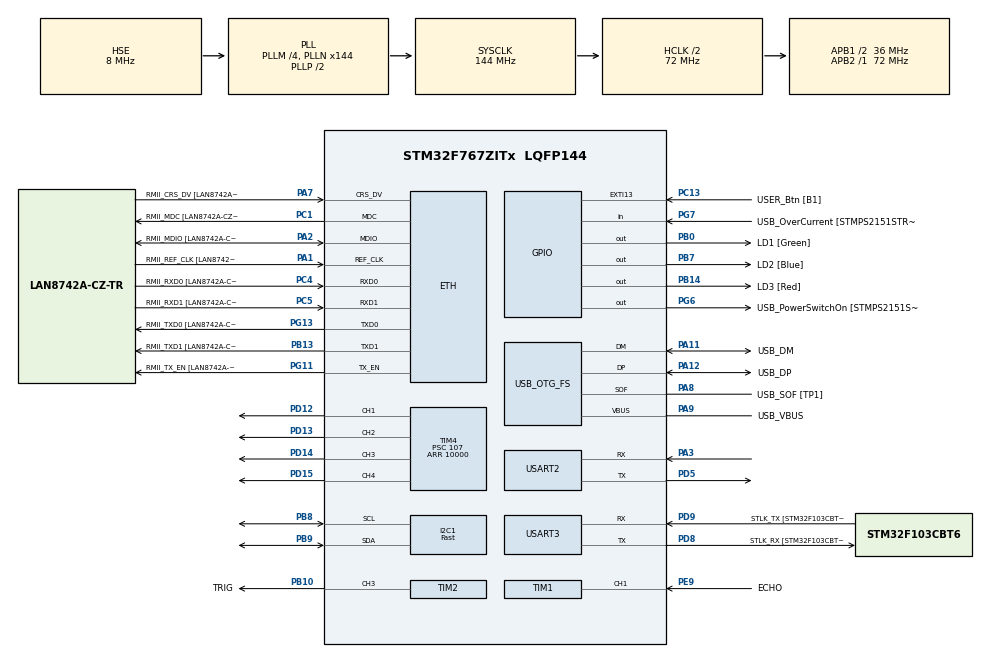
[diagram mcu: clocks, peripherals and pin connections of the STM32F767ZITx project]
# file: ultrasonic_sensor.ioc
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ETH.MediaInterface=HAL_ETH_RMII_MODE
ETH.PHY_Name=LAN8742A_PHY_ADDRESS
ETH.PHY_Value=0
ETH.PhyAddress=0
I2C1.I2C_Speed_Mode=I2C_Fast
I2C1.Timing=0x00301739
Mcu.Family=STM32F7
Mcu.Name=STM32F767ZITx
Mcu.Package=LQFP144
NVIC.PriorityGroup=NVIC_PRIORITYGROUP_4
NVIC.TIM1_CC_IRQn=true\:0\:0\:false\:false\:true\:true\:true\:true
NVIC.TIM2_IRQn=true\:0\:0\:false\:false\:true\:true\:true\:true
NVIC.USART2_IRQn=true\:0\:0\:false\:false\:true\:true\:true\:true
NVIC.USART3_IRQn=true\:0\:0\:false\:false\:true\:true\:true\:true
PA1.GPIO_Label=RMII_REF_CLK [LAN8742A-CZ-TR_REFCLK0]
PA1.Mode=RMII
PA1.Signal=ETH_REF_CLK
PA10.GPIO_Label=USB_ID
PA10.Signal=USB_OTG_FS_ID
PA11.GPIO_Label=USB_DM
PA11.Mode=Device_Only
PA11.Signal=USB_OTG_FS_DM
PA12.GPIO_Label=USB_DP
PA12.Mode=Device_Only
PA12.Signal=USB_OTG_FS_DP
PA13.GPIO_Label=TMS
PA13.Mode=Serial_Wire
PA13.Signal=SYS_JTMS-SWDIO
PA14.GPIO_Label=TCK
PA14.Mode=Serial_Wire
PA14.Signal=SYS_JTCK-SWCLK
PA2.GPIO_Label=RMII_MDIO [LAN8742A-CZ-TR_MDIO]
PA2.Mode=RMII
PA2.Signal=ETH_MDIO
PA3.Mode=Asynchronous
PA3.Signal=USART2_RX
PA7.GPIO_Label=RMII_CRS_DV [LAN8742A-CZ-TR_CRS_DV]
PA7.Mode=RMII
PA7.Signal=ETH_CRS_DV
PA8.GPIO_Label=USB_SOF [TP1]
PA8.Mode=Activate_SOF_FS
PA8.Signal=USB_OTG_FS_SOF
PA9.GPIO_Label=USB_VBUS
PA9.Mode=Activate_VBUS
PA9.Signal=USB_OTG_FS_VBUS
PB0.GPIO_Label=LD1 [Green]
PB0.Signal=GPIO_Output
PB10.GPIO_Label=TRIG
PB10.Signal=S_TIM2_CH3
PB13.GPIO_Label=RMII_TXD1 [LAN8742A-CZ-TR_TXD1]
PB13.Mode=RMII
PB13.Signal=ETH_TXD1
PB14.GPIO_Label=LD3 [Red]
PB14.Signal=GPIO_Output
PB3.GPIO_Label=SWO
PB3.Signal=SYS_JTDO-SWO
PB7.GPIO_Label=LD2 [Blue]
PB7.Signal=GPIO_Output
PB8.Mode=I2C
PB8.Signal=I2C1_SCL
PB9.Mode=I2C
PB9.Signal=I2C1_SDA
PC1.GPIO_Label=RMII_MDC [LAN8742A-CZ-TR_MDC]
PC1.Mode=RMII
PC1.Signal=ETH_MDC
PC13.GPIO_Label=USER_Btn [B1]
PC13.Signal=GPXTI13
PC14/OSC32_IN.Mode=LSE-External-Oscillator
PC14/OSC32_IN.Signal=RCC_OSC32_IN
PC15/OSC32_OUT.Mode=LSE-External-Oscillator
PC15/OSC32_OUT.Signal=RCC_OSC32_OUT
PC4.GPIO_Label=RMII_RXD0 [LAN8742A-CZ-TR_RXD0]
PC4.Mode=RMII
PC4.Signal=ETH_RXD0
PC5.GPIO_Label=RMII_RXD1 [LAN8742A-CZ-TR_RXD1]
PC5.Mode=RMII
PC5.Signal=ETH_RXD1
PD12.Signal=S_TIM4_CH1
PD13.Signal=S_TIM4_CH2
PD14.Signal=S_TIM4_CH3
PD15.Signal=S_TIM4_CH4
PD5.Mode=Asynchronous
PD5.Signal=USART2_TX
PD8.GPIO_Label=STLK_RX [STM32F103CBT6_PA3]
PD8.Mode=Asynchronous
PD8.Signal=USART3_TX
PD9.GPIO_Label=STLK_TX [STM32F103CBT6_PA2]
PD9.Mode=Asynchronous
PD9.Signal=USART3_RX
PE9.GPIO_Label=ECHO
PE9.Signal=S_TIM1_CH1
PG11.GPIO_Label=RMII_TX_EN [LAN8742A-CZ-TR_TXEN]
PG11.Mode=RMII
PG11.Signal=ETH_TX_EN
PG13.GPIO_Label=RMII_TXD0 [LAN8742A-CZ-TR_TXD0]
PG13.Mode=RMII
PG13.Signal=ETH_TXD0
PG6.GPIO_Label=USB_PowerSwitchOn [STMPS2151STR_EN]
PG6.Signal=GPIO_Output
PG7.GPIO_Label=USB_OverCurrent [STMPS2151STR_FAULT]
PG7.Signal=GPIO_Input
PH0/OSC_IN.GPIO_Label=MCO [STM32F103CBT6_PA8]
PH0/OSC_IN.Mode=HSE-External-Clock-Source
PH0/OSC_IN.Signal=RCC_OSC_IN
PH1/OSC_OUT.Mode=HSE-External-Clock-Source
PH1/OSC_OUT.Signal=RCC_OSC_OUT
ProjectManager.HeapSize=0x200
ProjectManager.StackSize=0x400
ProjectManager.TargetToolchain=STM32CubeIDE
RCC.48MHZClocksFreq_Value=24000000
RCC.AHBCLKDivider=RCC_SYSCLK_DIV2
RCC.AHBFreq_Value=72000000
RCC.APB1CLKDivider=RCC_HCLK_DIV2
RCC.APB1Freq_Value=36000000
RCC.APB1TimFreq_Value=72000000
RCC.APB2Freq_Value=72000000
RCC.APB2TimFreq_Value=72000000
RCC.CortexFreq_Value=72000000
RCC.HCLKFreq_Value=72000000
RCC.HSE_VALUE=8000000
RCC.HSI_VALUE=16000000
RCC.PLLM=4
RCC.PLLMUL=RCC_PLL_MUL9
RCC.PLLN=144
RCC.PLLQ=6
RCC.PRESCALERUSB=RCC_USBCLKSOURCE_PLL_DIV1_5
RCC.SYSCLKFreq_VALUE=144000000
RCC.SYSCLKSource=RCC_SYSCLKSOURCE_PLLCLK
RCC.SYSCLKSourceVirtual=RCC_SYSCLKSOURCE_PLLCLK
RCC.USBFreq_Value=48000000
RCC.VCOOutputFreq_Value=288000000
SH.S_TIM1_CH1.0=TIM1_CH1,PWM_Input_1
SH.S_TIM2_CH3.0=TIM2_CH3,PWM Generation3 CH3
SH.S_TIM4_CH1.0=TIM4_CH1,PWM Generation1 CH1
SH.S_TIM4_CH2.0=TIM4_CH2,PWM Generation2 CH2
SH.S_TIM4_CH3.0=TIM4_CH3,PWM Generation3 CH3
SH.S_TIM4_CH4.0=TIM4_CH4,PWM Generation4 CH4
TIM1.Prescaler=71
TIM2.Channel-PWM\ Generation3\ CH3=TIM_CHANNEL_3
TIM2.Period=62500-1
TIM2.Prescaler=71
TIM2.Pulse-PWM\ Generation3\ CH3=10
TIM4.Channel-PWM\ Generation1\ CH1=TIM_CHANNEL_1
TIM4.Channel-PWM\ Generation2\ CH2=TIM_CHANNEL_2
TIM4.Channel-PWM\ Generation3\ CH3=TIM_CHANNEL_3
TIM4.Channel-PWM\ Generation4\ CH4=TIM_CHANNEL_4
TIM4.Period=10000
TIM4.Prescaler=107
USART2.VirtualMode-Asynchronous=VM_ASYNC
USART3.VirtualMode-Asynchronous=VM_ASYNC
USB_OTG_FS.VirtualMode=Device_Only
VP_TIM1_VS_ClockSourceINT.Mode=Internal
VP_TIM2_VS_ClockSourceINT.Mode=Internal
board=NUCLEO-F767ZI

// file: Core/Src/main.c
/* USER CODE BEGIN Header */
/**
  ******************************************************************************
  * @file           : main.c
  * @brief          : Main program body
  ******************************************************************************
  * @attention
  *
  * Copyright (c) 2026 STMicroelectronics.
  * All rights reserved.
  *
  * This software is licensed under terms that can be found in the LICENSE file
  * in the root directory of this software component.
  * If no LICENSE file comes with this software, it is provided AS-IS.
  *
  ******************************************************************************
  */
/* USER CODE END Header */
#include "main.h"
#include "eth.h"
#include "i2c.h"
#include "tim.h"
#include "usart.h"
#include "usb_otg.h"
#include "gpio.h"
#include <stdio.h>
#include <string.h>

/* USER CODE BEGIN Includes */
#include "hc_sr_04.h"
#include "i2c_lcd.h"
/* USER CODE END Includes */

/* USER CODE BEGIN PTD */
struct us_sensor_str distance_sensor;
/* USER CODE END PTD */

/* USER CODE BEGIN PD */

void distance_display(uint32_t *giv_dist, uint32_t *acc_dist){
	lcd_clear();
	lcd_put_cursor(0,0);
	lcd_send_string("G.D.:");
	char *lcdout = (char*)giv_dist;
	lcd_put_cursor(0,6);
	lcd_send_string(lcdout);
	lcd_put_cursor(0,10);
	lcd_send_string("cm");

	lcd_put_cursor(1,0);
	lcd_send_string("A.D.:");

	lcd_put_cursor(1,10);
	lcd_send_string("cm");

	char buffer[12];
	itoa(*acc_dist, buffer, 10);
	lcd_put_cursor(1,6);
	lcd_send_string("   ");
	lcd_put_cursor(1,6);
	lcd_send_string(buffer);
	HAL_Delay(150);
}
/* USER CODE END PD */

/* USER CODE BEGIN PV */

uint8_t rx_indx;
uint8_t rx_data[3];
float giv_dist;
uint8_t rx_buffer[100];
uint8_t transfer_cplt;
float distances;

#define PWM_MAX 7500
#define MIN_PWM 2400
#define TOLERANCE_CM 3.0f
typedef struct {
	float Kp;
	float Kd;
	float target_distance;
	float prev_error;
	uint32_t last_time;
} PD_Controller;

PD_Controller robotPD = {0};
int32_t current_pwm_output = 0;

/* USER CODE END PV */

void SystemClock_Config(void);

/* USER CODE BEGIN 0 */

float uint8_to_float_ascii(uint8_t bytes[3]) {
    // Assuming bytes contain ASCII digits: '3', '0', '0'
	if(bytes[0] != '.' && bytes[1] != '.' && bytes[2] != '.'){
		int value = (bytes[0] - '0') * 100 +
                	(bytes[1] - '0') * 10 +
					(bytes[2] - '0');
		return (float)value;
	}
	else if(bytes[2] == '.'){
		int value = (bytes[0] - '0') * 10 + (bytes[1] - '0') ;
		return (float)value;
	}
	else if(bytes[1] == '.'){
		int value = (bytes[0] - '0');
		return (float)value;
	}
}

void SetRobotSpeed(int32_t speed)
{
	if (speed > PWM_MAX) speed = PWM_MAX;
	if (speed < -PWM_MAX) speed = -PWM_MAX;

	if (speed > 0 && speed < MIN_PWM) speed = MIN_PWM;
	if (speed < 0 && speed > -MIN_PWM) speed = -MIN_PWM;

	if (speed == 0) {
	        __HAL_TIM_SET_COMPARE(&htim4, TIM_CHANNEL_1, 0);
	        __HAL_TIM_SET_COMPARE(&htim4, TIM_CHANNEL_2, 0);
	        __HAL_TIM_SET_COMPARE(&htim4, TIM_CHANNEL_3, 0);
	        __HAL_TIM_SET_COMPARE(&htim4, TIM_CHANNEL_4, 0);
	        return;
	    }

	if (speed > 0) {
	        // Przód
	        __HAL_TIM_SET_COMPARE(&htim4, TIM_CHANNEL_1, speed); // L Przód
	        __HAL_TIM_SET_COMPARE(&htim4, TIM_CHANNEL_2, 0);
	        __HAL_TIM_SET_COMPARE(&htim4, TIM_CHANNEL_3, speed); // R Przód
	        __HAL_TIM_SET_COMPARE(&htim4, TIM_CHANNEL_4, 0);
	    } else {
	        // Tył
	        __HAL_TIM_SET_COMPARE(&htim4, TIM_CHANNEL_1, 0);
	        __HAL_TIM_SET_COMPARE(&htim4, TIM_CHANNEL_2, -speed);// L Tył
	        __HAL_TIM_SET_COMPARE(&htim4, TIM_CHANNEL_3, 0);
	        __HAL_TIM_SET_COMPARE(&htim4, TIM_CHANNEL_4, -speed);// R Tył
	    }
}

// Obliczanie wartości PWM na podstawie odległości
float Calculate_PD(PD_Controller *pd, uint32_t *current_distance)
{
    uint32_t now = HAL_GetTick();
    float dt = (now - pd->last_time) / 1000.0f; // Czas w sekundach
    if (dt <= 0.0f) dt = 0.001f;

    // Błąd = aktualna odległość - pożądana odległość
    float current_distance_f = *current_distance;
    float error = current_distance_f  - pd->target_distance;

    if (error > -TOLERANCE_CM && error < TOLERANCE_CM){
    	pd->prev_error = error;
		pd->last_time = now;

		return 0.0f;
    }

    // Pochodna = jak szybko zmienia się błąd
    float derivative = (error - pd->prev_error) / dt;

    // Wynik PD
    float output = (pd->Kp * error) + (pd->Kd * derivative);

    pd->prev_error = error;
    pd->last_time = now;

    return output;
}

/* USER CODE END 0 */

int main(void)
{

  /* MCU Configuration--------------------------------------------------------*/

  /* Reset of all peripherals, Initializes the Flash interface and the Systick. */
  HAL_Init();

  /* Configure the system clock */
  SystemClock_Config();

  /* Initialize all configured peripherals */
  MX_GPIO_Init();
  MX_ETH_Init();
  MX_USART3_UART_Init();
  MX_USB_OTG_FS_PCD_Init();
  MX_TIM1_Init();
  MX_TIM2_Init();
  MX_I2C1_Init();
  MX_TIM4_Init();
  MX_USART2_UART_Init();
  /* USER CODE BEGIN 2 */
  hc_sr04_init(&distance_sensor, &htim1, &htim2, TIM_CHANNEL_3);

  lcd_init();

  HAL_TIM_PWM_Start(&htim4, TIM_CHANNEL_1);
  HAL_TIM_PWM_Start(&htim4, TIM_CHANNEL_2);
  HAL_TIM_PWM_Start(&htim4, TIM_CHANNEL_3);
  HAL_TIM_PWM_Start(&htim4, TIM_CHANNEL_4);

  robotPD.Kp = 170.0f;             // Modyfikuj w Live Expressions!
  robotPD.Kd = 20.0f;              // Modyfikuj w Live Expressions!
  robotPD.target_distance = 20.0f;   // TU WKLEIĆ TARGET OD OSKARA CHYBA
  robotPD.last_time = HAL_GetTick();

  /* USER CODE END 2 */

  /* Infinite loop */
  /* USER CODE BEGIN WHILE */
  while (1)
  {
	  static uint32_t last_pd_calc_time = 0;

	  HAL_UART_Receive_IT(&huart2, rx_data, 3);
	  giv_dist = uint8_to_float_ascii(rx_data);

	  robotPD.target_distance = giv_dist;

	  if (HAL_GetTick() - last_pd_calc_time > 50)
	       {
	           last_pd_calc_time = HAL_GetTick();

	           // 1. Oblicz nowe PWM na podstawie zmiennej z czujnika
	           float calculated_pwm = Calculate_PD(&robotPD, &distance_sensor.distance_cm);

	           // 2. Przekaż do silników
	           current_pwm_output = (int32_t)calculated_pwm;
	           SetRobotSpeed(current_pwm_output);
	       }

	  distance_display(rx_data, &distance_sensor.distance_cm);

	  distances = (float)distance_sensor.distance_cm;

	  char wifi_buffer[50];
	  sprintf(wifi_buffer, "%.1f\n", distances);
	  HAL_UART_Transmit(&huart2, (uint8_t*)wifi_buffer, strlen(wifi_buffer), 1000);

    /* USER CODE END WHILE */

  }
}

void SystemClock_Config(void)
{
  RCC_OscInitTypeDef RCC_OscInitStruct = {0};
  RCC_ClkInitTypeDef RCC_ClkInitStruct = {0};

  /** Configure LSE Drive Capability
  */
  HAL_PWR_EnableBkUpAccess();

  /** Configure the main internal regulator output voltage
  */
  __HAL_RCC_PWR_CLK_ENABLE();
  __HAL_PWR_VOLTAGESCALING_CONFIG(PWR_REGULATOR_VOLTAGE_SCALE3);

  /** Initializes the RCC Oscillators according to the specified parameters
  * in the RCC_OscInitTypeDef structure.
  */
  RCC_OscInitStruct.OscillatorType = RCC_OSCILLATORTYPE_HSE;
  RCC_OscInitStruct.HSEState = RCC_HSE_BYPASS;
  RCC_OscInitStruct.PLL.PLLState = RCC_PLL_ON;
  RCC_OscInitStruct.PLL.PLLSource = RCC_PLLSOURCE_HSE;
  RCC_OscInitStruct.PLL.PLLM = 4;
  RCC_OscInitStruct.PLL.PLLN = 144;
  RCC_OscInitStruct.PLL.PLLP = RCC_PLLP_DIV2;
  RCC_OscInitStruct.PLL.PLLQ = 6;
  RCC_OscInitStruct.PLL.PLLR = 2;
  if (HAL_RCC_OscConfig(&RCC_OscInitStruct) != HAL_OK)
  {
    Error_Handler();
  }

  /** Initializes the CPU, AHB and APB buses clocks
  */
  RCC_ClkInitStruct.ClockType = RCC_CLOCKTYPE_HCLK|RCC_CLOCKTYPE_SYSCLK
                              |RCC_CLOCKTYPE_PCLK1|RCC_CLOCKTYPE_PCLK2;
  RCC_ClkInitStruct.SYSCLKSource = RCC_SYSCLKSOURCE_PLLCLK;
  RCC_ClkInitStruct.AHBCLKDivider = RCC_SYSCLK_DIV2;
  RCC_ClkInitStruct.APB1CLKDivider = RCC_HCLK_DIV2;
  RCC_ClkInitStruct.APB2CLKDivider = RCC_HCLK_DIV1;

  if (HAL_RCC_ClockConfig(&RCC_ClkInitStruct, FLASH_LATENCY_2) != HAL_OK)
  {
    Error_Handler();
  }
}

/* USER CODE BEGIN 4 */
void HAL_TIM_IC_CaptureCallback(TIM_HandleTypeDef *htim)
{
	if(TIM1 == htim->Instance)
	{
		uint32_t echo_us;

		echo_us = HAL_TIM_ReadCapturedValue(htim, TIM_CHANNEL_2);
		distance_sensor.distance_cm = hc_sr04_convert_us_to_cm(echo_us);
	}
}

void HAL_UART_RxCpltCallback(UART_HandleTypeDef *huart)
{
  /* Prevent unused argument(s) compilation warning */
  UNUSED(huart);

  /* NOTE : This function should not be modified, when the callback is needed,
            the HAL_UART_RxCpltCallback can be implemented in the user file.
   */
  	  HAL_UART_Transmit(&huart3, rx_data, 8, 10);
}

/* USER CODE END 4 */

void Error_Handler(void)
{
  __disable_irq();
  while (1)
  {
  }
}
